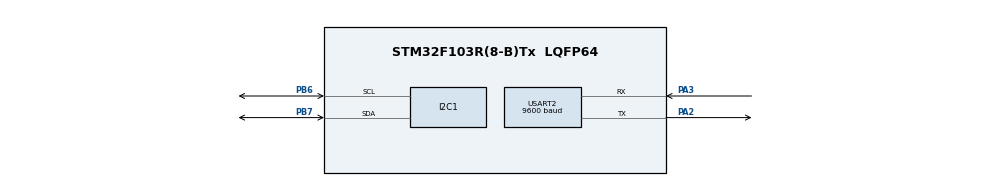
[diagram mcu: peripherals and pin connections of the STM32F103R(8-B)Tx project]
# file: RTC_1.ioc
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Mcu.Family=STM32F1
RCC.APB2Freq_Value=8000000
PA14.Mode=Serial_Wire
PB7.Signal=I2C1_SDA
PA13.Mode=Serial_Wire
Mcu.Name=STM32F103R(8-B)Tx
PA2.Signal=USART2_TX
USART2.BaudRate=9600
Mcu.Package=LQFP64
ProjectManager.StackSize=0x400
USART2.VirtualMode=VM_ASYNC
PA13.Signal=SYS_JTMS-SWDIO
PA3.Mode=Asynchronous
PB7.Mode=I2C
PA14.Signal=SYS_JTCK-SWCLK
ProjectManager.HeapSize=0x200
ProjectManager.TargetToolchain=STM32CubeIDE
NVIC.PriorityGroup=NVIC_PRIORITYGROUP_4
PA2.Mode=Asynchronous
PB6.Signal=I2C1_SCL
PB6.Mode=I2C
RCC.APB1Freq_Value=8000000
PA3.Signal=USART2_RX
board=custom

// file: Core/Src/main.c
/* USER CODE BEGIN Header */
/**
  ******************************************************************************
  * @file           : main.c
  * @brief          : Main program body
  ******************************************************************************
  * @attention
  *
  * <h2><center>&copy; Copyright (c) 2021 STMicroelectronics.
  * All rights reserved.</center></h2>
  *
  * This software component is licensed by ST under BSD 3-Clause license,
  * the "License"; You may not use this file except in compliance with the
  * License. You may obtain a copy of the License at:
  *                        opensource.org/licenses/BSD-3-Clause
  *
  ******************************************************************************
  */
/* USER CODE END Header */
#include "main.h"
#include "i2c.h"
#include "usart.h"
#include "gpio.h"

/* USER CODE BEGIN Includes */
#include "ds3231.h"
#include <stdio.h>
/* USER CODE END Includes */

/* USER CODE BEGIN PD */
#define ON	1
#define OFF	0
/* USER CODE END PD */

void SystemClock_Config(void);

/* USER CODE BEGIN 0 */
int _write(int file, unsigned char* p, int len) {
	HAL_UART_Transmit(&huart2, p, len, 20);
	return (len);
}

_RTC rtc = {
		.Year = 21, .Month = 4, .Date = 28,
		.DaysOfWeek = WEDNESDAY,
		.Hour = 13, .Min = 7, .Sec = 0
};

uint8_t prevSec = 0;
/* USER CODE END 0 */

int main(void)
{

  /* MCU Configuration--------------------------------------------------------*/

  /* Reset of all peripherals, Initializes the Flash interface and the Systick. */
  HAL_Init();

  /* Configure the system clock */
  SystemClock_Config();

  /* Initialize all configured peripherals */
  MX_GPIO_Init();
  MX_I2C1_Init();
  MX_USART2_UART_Init();
  /* USER CODE BEGIN 2 */
  DS3231_Init(&hi2c1);
  DS3231_SetTime(&rtc);
  /* USER CODE END 2 */

  /* Infinite loop */
  while (1)
  {

    /* USER CODE BEGIN 3 */
	  DS3231_GetTime(&rtc);
	  if (rtc.Sec != prevSec) {
		  printf("20%02d-%02d-%02d  ", rtc.Year, rtc.Month, rtc.Date);
		  printf("%02d:%02d:%02d\n\r", rtc.Hour, rtc.Min, rtc.Sec);
		  prevSec = rtc.Sec;
	  }
  }
  /* USER CODE END 3 */
}

void SystemClock_Config(void)
{
  RCC_OscInitTypeDef RCC_OscInitStruct = {0};
  RCC_ClkInitTypeDef RCC_ClkInitStruct = {0};

  /** Initializes the RCC Oscillators according to the specified parameters
  * in the RCC_OscInitTypeDef structure.
  */
  RCC_OscInitStruct.OscillatorType = RCC_OSCILLATORTYPE_HSI;
  RCC_OscInitStruct.HSIState = RCC_HSI_ON;
  RCC_OscInitStruct.HSICalibrationValue = RCC_HSICALIBRATION_DEFAULT;
  RCC_OscInitStruct.PLL.PLLState = RCC_PLL_NONE;
  if (HAL_RCC_OscConfig(&RCC_OscInitStruct) != HAL_OK)
  {
    Error_Handler();
  }
  /** Initializes the CPU, AHB and APB buses clocks
  */
  RCC_ClkInitStruct.ClockType = RCC_CLOCKTYPE_HCLK|RCC_CLOCKTYPE_SYSCLK
                              |RCC_CLOCKTYPE_PCLK1|RCC_CLOCKTYPE_PCLK2;
  RCC_ClkInitStruct.SYSCLKSource = RCC_SYSCLKSOURCE_HSI;
  RCC_ClkInitStruct.AHBCLKDivider = RCC_SYSCLK_DIV1;
  RCC_ClkInitStruct.APB1CLKDivider = RCC_HCLK_DIV1;
  RCC_ClkInitStruct.APB2CLKDivider = RCC_HCLK_DIV1;

  if (HAL_RCC_ClockConfig(&RCC_ClkInitStruct, FLASH_LATENCY_0) != HAL_OK)
  {
    Error_Handler();
  }
}

void Error_Handler(void)
{
  __disable_irq();
  while (1)
  {
  }
}

/************************ (C) COPYRIGHT STMicroelectronics *****END OF FILE****/
